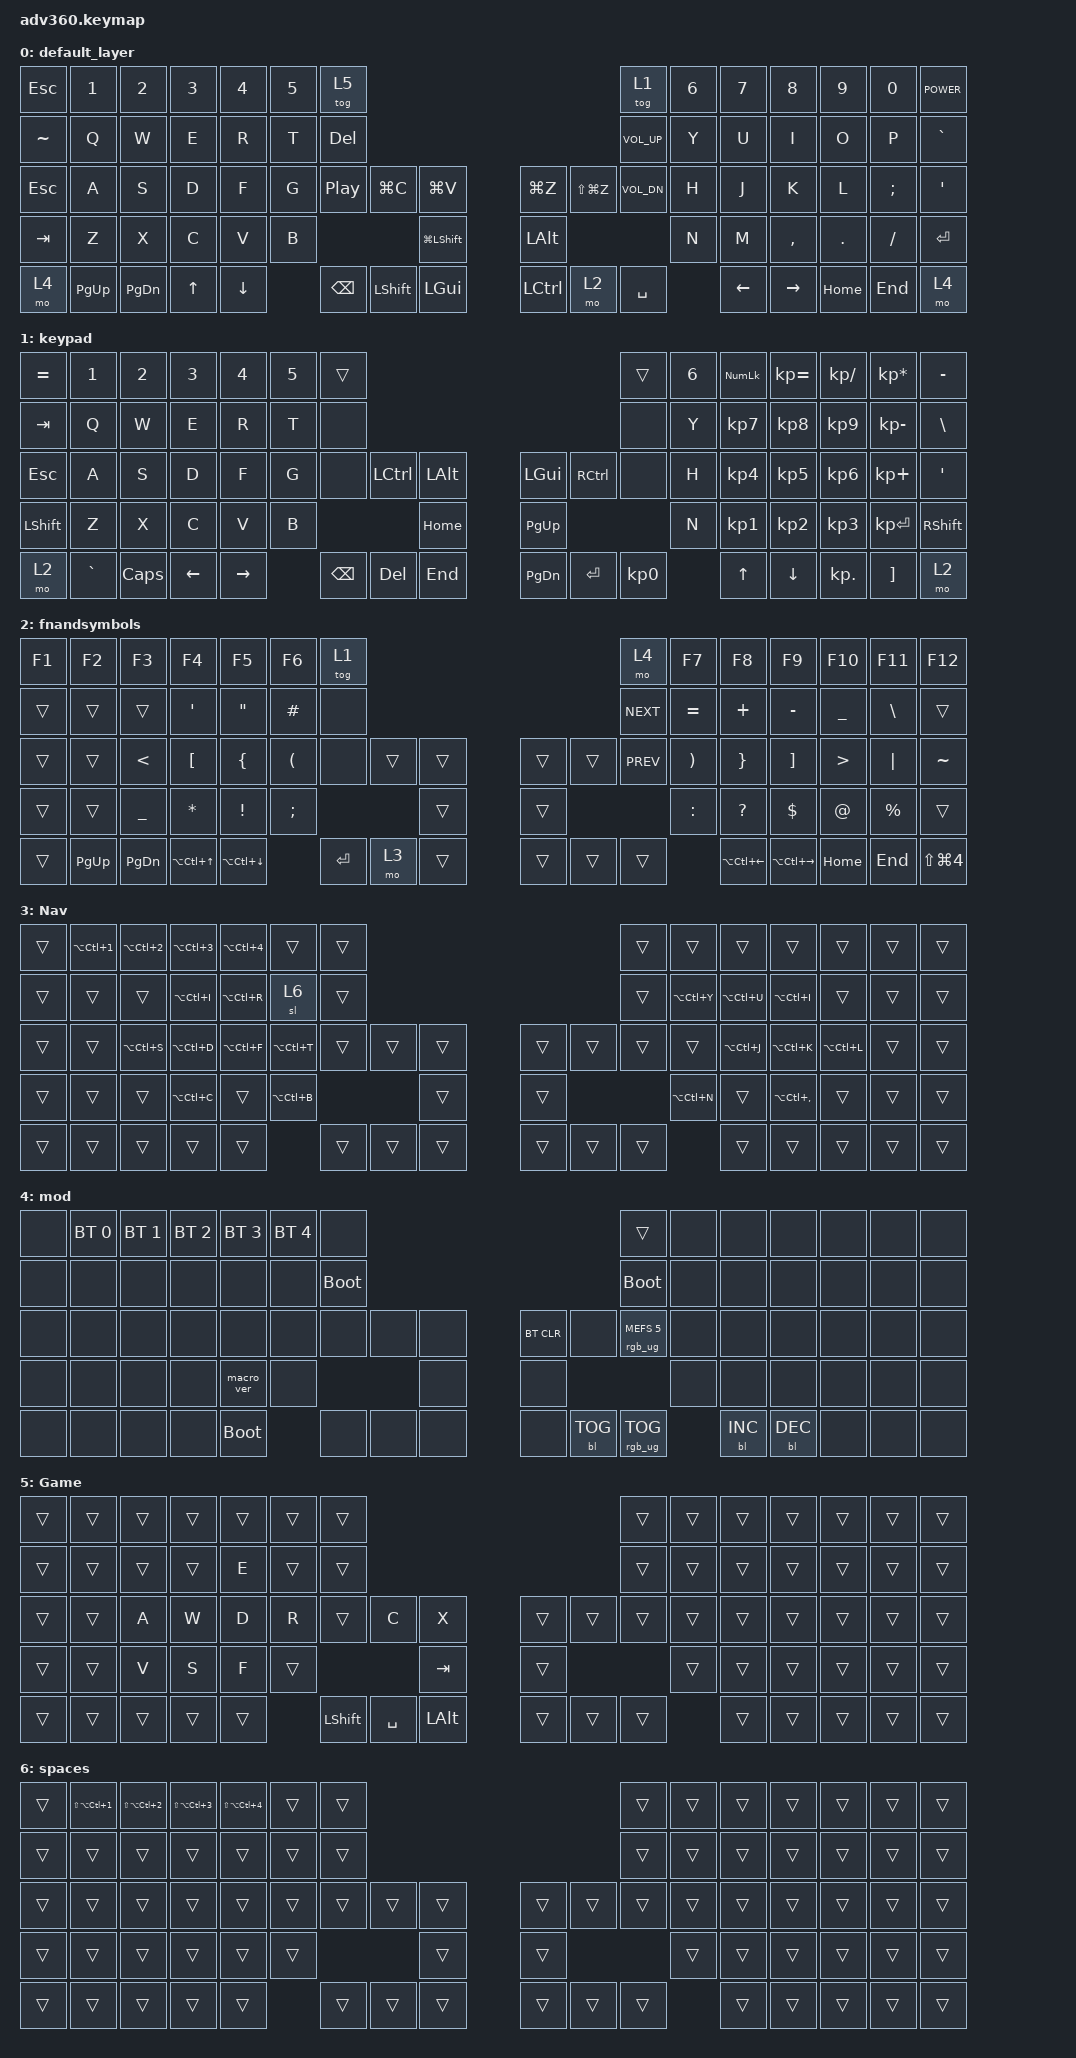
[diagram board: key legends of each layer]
#include <behaviors.dtsi>
#include <dt-bindings/zmk/backlight.h>
#include <dt-bindings/zmk/bt.h>
#include <dt-bindings/zmk/keys.h>
#include <dt-bindings/zmk/rgb.h>

/ {
    behaviors {
        #include "macros.dtsi"
      #include "version.dtsi"
      #ifndef VERSION_MACRO

        macro_ver: macro_ver {
            compatible = "zmk,behavior-macro";
            label = "macro_version";
            #binding-cells = <0>;
            bindings = <&kp RET>;
        };

        #endif

        hm: homerow_mods {
            compatible = "zmk,behavior-hold-tap";
            label = "HOMEROW_MODS";
            #binding-cells = <2>;
            tapping-term-ms = <200>;
            quick_tap_ms = <175>;
            flavor = "tap-preferred";
            bindings = <&kp>, <&kp>;
        };
    };

    macros {
    };

    combos { compatible = "zmk,combos"; };

    keymap {
        compatible = "zmk,keymap";

        default_layer {
            bindings = <
&kp ESCAPE  &kp N1       &kp N2         &kp N3  &kp N4    &kp N5  &tog 5                                                                                     &tog 1           &kp N6  &kp N7    &kp N8     &kp N9    &kp N0    &kp C_POWER
&kp TILDE   &kp Q        &kp W          &kp E   &kp R     &kp T   &kp DELETE                                                                                 &kp C_VOLUME_UP  &kp Y   &kp U     &kp I      &kp O     &kp P     &kp GRAVE
&kp ESCAPE  &kp A        &kp S          &kp D   &kp F     &kp G   &kp C_PLAY_PAUSE  &kp LG(C)       &kp LG(V)               &kp LG(Z)         &kp LS(LG(Z))  &kp C_VOL_DN     &kp H   &kp J     &kp K      &kp L     &kp SEMI  &kp APOSTROPHE
&kp TAB     &kp Z        &kp X          &kp C   &kp V     &kp B                                     &kp LG(LEFT_SHIFT)      &kp LEFT_ALT                                      &kp N   &kp M     &kp COMMA  &kp DOT   &kp FSLH  &kp RETURN
&mo 4       &kp PAGE_UP  &kp PAGE_DOWN  &kp UP  &kp DOWN          &kp BACKSPACE     &kp LEFT_SHIFT  &kp LEFT_GUI            &kp LEFT_CONTROL  &mo 2          &kp SPACE                &kp LEFT  &kp RIGHT  &kp HOME  &kp END   &mo 4
            >;
        };

        keypad {
            bindings = <
&kp EQUAL  &kp N1     &kp N2    &kp N3    &kp N4     &kp N5  &trans                                                   &trans     &kp N6  &kp KP_NUM  &kp KP_EQUAL  &kp KP_DIVIDE  &kp KP_MULTIPLY  &kp MINUS
&kp TAB    &kp Q      &kp W     &kp E     &kp R      &kp T   &none                                                    &none      &kp Y   &kp KP_N7   &kp KP_N8     &kp KP_N9      &kp KP_MINUS     &kp BSLH
&kp ESC    &kp A      &kp S     &kp D     &kp F      &kp G   &none     &kp LCTRL  &kp LALT      &kp LGUI   &kp RCTRL  &none      &kp H   &kp KP_N4   &kp KP_N5     &kp KP_N6      &kp KP_PLUS      &kp SQT
&kp LSHFT  &kp Z      &kp X     &kp C     &kp V      &kp B                        &kp HOME      &kp PG_UP                        &kp N   &kp KP_N1   &kp KP_N2     &kp KP_N3      &kp KP_ENTER     &kp RSHFT
&mo 2      &kp GRAVE  &kp CAPS  &kp LEFT  &kp RIGHT          &kp BSPC  &kp DEL    &kp END       &kp PG_DN  &kp ENTER  &kp KP_N0          &kp UP      &kp DOWN      &kp KP_DOT     &kp RBKT         &mo 2
            >;
        };

        fnandsymbols {
            bindings = <
&kp F1  &kp F2       &kp F3         &kp F4                &kp F5                  &kp F6                &tog 1                                          &mo 4       &kp F7                 &kp F8            &kp F9             &kp F10           &kp F11        &kp F12
&trans  &trans       &trans         &kp SINGLE_QUOTE      &kp DOUBLE_QUOTES       &kp HASH              &none                                           &kp C_NEXT  &kp EQUAL              &kp PLUS          &kp MINUS          &kp UNDERSCORE    &kp BACKSLASH  &trans
&trans  &trans       &kp LESS_THAN  &kp LEFT_BRACKET      &kp LEFT_BRACE          &kp LEFT_PARENTHESIS  &none       &trans  &trans      &trans  &trans  &kp C_PREV  &kp RIGHT_PARENTHESIS  &kp RIGHT_BRACE   &kp RIGHT_BRACKET  &kp GREATER_THAN  &kp PIPE       &kp TILDE
&trans  &trans       &kp UNDER      &kp ASTRK             &kp EXCL                &kp SEMI                                  &trans      &trans                      &kp COLON              &kp QUESTION      &kp DOLLAR         &kp AT_SIGN       &kp PERCENT    &trans
&trans  &kp PAGE_UP  &kp PAGE_DOWN  &kp LA(LC(UP_ARROW))  &kp LA(LC(DOWN_ARROW))                        &kp RETURN  &mo 3   &trans      &trans  &trans  &trans                             &kp LA(LC(LEFT))  &kp LA(LC(RIGHT))  &kp HOME          &kp END        &kp LS(LG(NUMBER_4))
            >;
        };

        Nav {
            bindings = <
&trans  &kp LA(LC(NUMBER_1))  &kp LA(LC(NUMBER_2))  &kp LA(LC(NUMBER_3))  &kp LA(LC(NUMBER_4))  &trans         &trans                                      &trans  &trans         &trans         &trans             &trans         &trans  &trans
&trans  &trans                &trans                &kp LA(LC(I))         &kp LA(LC(R))         &sl 6          &trans                                      &trans  &kp LA(LC(Y))  &kp LA(LC(U))  &kp LA(LC(I))      &trans         &trans  &trans
&trans  &trans                &kp LA(LC(S))         &kp LA(LC(D))         &kp LA(LC(F))         &kp LA(LC(T))  &trans  &trans  &trans      &trans  &trans  &trans  &trans         &kp LA(LC(J))  &kp LA(LC(K))      &kp LA(LC(L))  &trans  &trans
&trans  &trans                &trans                &kp LA(LC(C))         &trans                &kp LA(LC(B))                  &trans      &trans                  &kp LA(LC(N))  &trans         &kp LA(LC(COMMA))  &trans         &trans  &trans
&trans  &trans                &trans                &trans                &trans                               &trans  &trans  &trans      &trans  &trans  &trans                 &trans         &trans             &trans         &trans  &trans
            >;
        };

        mod {
            bindings = <
&none  &bt BT_SEL 0  &bt BT_SEL 1  &bt BT_SEL 2  &bt BT_SEL 3  &bt BT_SEL 4  &none                                                  &trans                  &none  &none       &none       &none  &none  &none
&none  &none         &none         &none         &none         &none         &bootloader                                            &bootloader             &none  &none       &none       &none  &none  &none
&none  &none         &none         &none         &none         &none         &none        &none  &none      &bt BT_CLR  &none       &rgb_ug RGB_MEFS_CMD 5  &none  &none       &none       &none  &none  &none
&none  &none         &none         &none         &macro_ver    &none                             &none      &none                                           &none  &none       &none       &none  &none  &none
&none  &none         &none         &none         &bootloader                 &none        &none  &none      &none       &bl BL_TOG  &rgb_ug RGB_TOG                &bl BL_INC  &bl BL_DEC  &none  &none  &none
            >;
        };

        Game {
            bindings = <
&trans  &trans  &trans  &trans  &trans  &trans  &trans                                                       &trans  &trans  &trans  &trans  &trans  &trans  &trans
&trans  &trans  &trans  &trans  &kp E   &trans  &trans                                                       &trans  &trans  &trans  &trans  &trans  &trans  &trans
&trans  &trans  &kp A   &kp W   &kp D   &kp R   &trans          &kp C      &kp X             &trans  &trans  &trans  &trans  &trans  &trans  &trans  &trans  &trans
&trans  &trans  &kp V   &kp S   &kp F   &trans                             &kp TAB           &trans                  &trans  &trans  &trans  &trans  &trans  &trans
&trans  &trans  &trans  &trans  &trans          &kp LEFT_SHIFT  &kp SPACE  &kp LEFT_ALT      &trans  &trans  &trans          &trans  &trans  &trans  &trans  &trans
            >;
        };

        spaces {
            bindings = <
&trans  &kp LS(LA(LC(NUMBER_1)))  &kp LS(LA(LC(NUMBER_2)))  &kp LS(LA(LC(NUMBER_3)))  &kp LS(LA(LC(NUMBER_4)))  &trans  &trans                                      &trans  &trans  &trans  &trans  &trans  &trans  &trans
&trans  &trans                    &trans                    &trans                    &trans                    &trans  &trans                                      &trans  &trans  &trans  &trans  &trans  &trans  &trans
&trans  &trans                    &trans                    &trans                    &trans                    &trans  &trans  &trans  &trans      &trans  &trans  &trans  &trans  &trans  &trans  &trans  &trans  &trans
&trans  &trans                    &trans                    &trans                    &trans                    &trans                  &trans      &trans                  &trans  &trans  &trans  &trans  &trans  &trans
&trans  &trans                    &trans                    &trans                    &trans                            &trans  &trans  &trans      &trans  &trans  &trans          &trans  &trans  &trans  &trans  &trans
            >;
        };
    };
};
